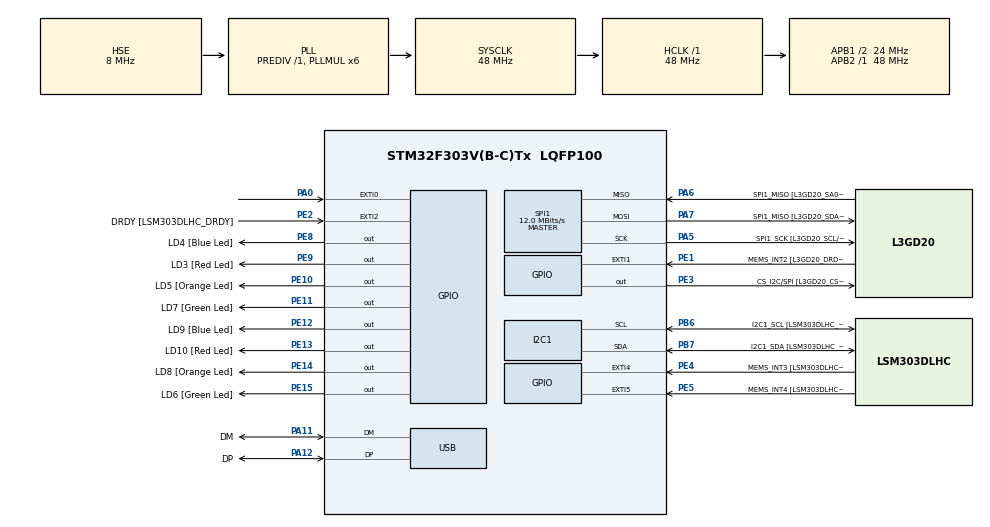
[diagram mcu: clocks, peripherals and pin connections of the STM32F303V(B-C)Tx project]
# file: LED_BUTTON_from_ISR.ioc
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I2C1.Timing-I2C=0x2000090E
Mcu.Family=STM32F3
Mcu.Name=STM32F303V(B-C)Tx
Mcu.Package=LQFP100
NVIC.EXTI0_IRQn=true\:6\:0\:true\:false\:true\:true\:true\:true
NVIC.PriorityGroup=NVIC_PRIORITYGROUP_4
NVIC.TIM6_DAC_IRQn=true\:0\:0\:false\:false\:true\:false\:true\:true
NVIC.TimeBase=TIM6_DAC_IRQn
NVIC.TimeBaseIP=TIM6
PA0.GPIO_ModeDefaultEXTI=GPIO_MODE_IT_FALLING
PA0.Signal=GPXTI0
PA11.GPIO_Label=DM
PA11.Mode=Device
PA11.Signal=USB_DM
PA12.GPIO_Label=DP
PA12.Mode=Device
PA12.Signal=USB_DP
PA13.GPIO_Label=SWDIO
PA13.Mode=Serial_Wire
PA13.Signal=SYS_JTMS-SWDIO
PA14.GPIO_Label=SWCLK
PA14.Mode=Serial_Wire
PA14.Signal=SYS_JTCK-SWCLK
PA5.GPIO_Label=SPI1_SCK [L3GD20_SCL/SPC]
PA5.Mode=Full_Duplex_Master
PA5.Signal=SPI1_SCK
PA6.GPIO_Label=SPI1_MISO [L3GD20_SA0/SDO]
PA6.Mode=Full_Duplex_Master
PA6.Signal=SPI1_MISO
PA7.GPIO_Label=SPI1_MISO [L3GD20_SDA/SDI/SDO]
PA7.Mode=Full_Duplex_Master
PA7.Signal=SPI1_MOSI
PB3.GPIO_Label=SWO
PB3.Signal=SYS_JTDO-TRACESWO
PB6.GPIO_Label=I2C1_SCL [LSM303DLHC_SCL]
PB6.GPIO_Pu=GPIO_PULLUP
PB6.Mode=I2C
PB6.Signal=I2C1_SCL
PB7.GPIO_Label=I2C1_SDA [LSM303DLHC_SDA]
PB7.GPIO_Pu=GPIO_PULLUP
PB7.Mode=I2C
PB7.Signal=I2C1_SDA
PC14-OSC32_IN.GPIO_Label=OSC32_IN
PC14-OSC32_IN.Signal=RCC_OSC32_IN
PC15-OSC32_OUT.GPIO_Label=OSC32_OUT
PC15-OSC32_OUT.Signal=RCC_OSC32_OUT
PE1.GPIO_Label=MEMS_INT2 [L3GD20_DRDY/INT2]
PE1.GPIO_ModeDefaultEXTI=GPIO_MODE_EVT_RISING
PE1.Signal=GPXTI1
PE10.GPIO_Label=LD5 [Orange Led]
PE10.Signal=GPIO_Output
PE11.GPIO_Label=LD7 [Green Led]
PE11.Signal=GPIO_Output
PE12.GPIO_Label=LD9 [Blue Led]
PE12.Signal=GPIO_Output
PE13.GPIO_Label=LD10 [Red Led]
PE13.Signal=GPIO_Output
PE14.GPIO_Label=LD8 [Orange Led]
PE14.Signal=GPIO_Output
PE15.GPIO_Label=LD6 [Green Led]
PE15.Signal=GPIO_Output
PE2.GPIO_Label=DRDY [LSM303DLHC_DRDY]
PE2.GPIO_ModeDefaultEXTI=GPIO_MODE_EVT_RISING
PE2.Signal=GPXTI2
PE3.GPIO_Label=CS_I2C/SPI [L3GD20_CS_I2C/SPI]
PE3.Signal=GPIO_Output
PE4.GPIO_Label=MEMS_INT3 [LSM303DLHC_INT1]
PE4.GPIO_ModeDefaultEXTI=GPIO_MODE_EVT_RISING
PE4.Signal=GPXTI4
PE5.GPIO_Label=MEMS_INT4 [LSM303DLHC_INT2]
PE5.GPIO_ModeDefaultEXTI=GPIO_MODE_EVT_RISING
PE5.Signal=GPXTI5
PE8.GPIO_Label=LD4 [Blue Led]
PE8.Signal=GPIO_Output
PE9.GPIO_Label=LD3 [Red Led]
PE9.Signal=GPIO_Output
PF0-OSC_IN.GPIO_Label=OSC_IN
PF0-OSC_IN.Mode=HSE-External-Clock-Source
PF0-OSC_IN.Signal=RCC_OSC_IN
PF1-OSC_OUT.GPIO_Label=OSC_OUT
PF1-OSC_OUT.Signal=RCC_OSC_OUT
ProjectManager.HeapSize=0x200
ProjectManager.StackSize=0x400
ProjectManager.TargetToolchain=STM32CubeIDE
RCC.AHBFreq_Value=48000000
RCC.APB1CLKDivider=RCC_HCLK_DIV2
RCC.APB1Freq_Value=24000000
RCC.APB1TimFreq_Value=48000000
RCC.APB2Freq_Value=48000000
RCC.APB2TimFreq_Value=48000000
RCC.CortexFreq_Value=48000000
RCC.HCLKFreq_Value=48000000
RCC.HSE_VALUE=8000000
RCC.HSI_VALUE=8000000
RCC.LSE_VALUE=32768
RCC.PLLMUL=RCC_PLL_MUL6
RCC.SYSCLKFreq_VALUE=48000000
RCC.SYSCLKSourceVirtual=RCC_SYSCLKSOURCE_PLLCLK
RCC.USBFreq_Value=48000000
SPI1.BaudRatePrescaler=SPI_BAUDRATEPRESCALER_4
SPI1.BaudRatePrescaler-Full_Duplex_Master=SPI_BAUDRATEPRESCALER_2
SPI1.CalculateBaudRate=12.0 MBits/s
SPI1.CalculateBaudRate-Full_Duplex_Master=24.0 MBits/s
SPI1.Direction=SPI_DIRECTION_2LINES
SPI1.Mode=SPI_MODE_MASTER
SPI1.Mode-Full_Duplex_Master=SPI_MODE_MASTER
SPI1.VirtualType=VM_MASTER
VP_SYS_VS_tim6.Mode=TIM6
board=STM32F3DISCOVERY

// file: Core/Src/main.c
/* USER CODE BEGIN Header */
/**
  ******************************************************************************
  * @file           : main.c
  * @brief          : Main program body
  ******************************************************************************
  * @attention
  *
  * Copyright (c) 2023 STMicroelectronics.
  * All rights reserved.
  *
  * This software is licensed under terms that can be found in the LICENSE file
  * in the root directory of this software component.
  * If no LICENSE file comes with this software, it is provided AS-IS.
  *
  ******************************************************************************
  */
/* USER CODE END Header */
#include "main.h"

/* USER CODE BEGIN Includes */
#include <stdio.h>
#include"FreeRTOS.h"
#include "task.h"
/* USER CODE END Includes */

/* USER CODE BEGIN PM */
#define LED_GREEN_1 	GPIO_PIN_15
#define LED_GREEN_2 	GPIO_PIN_11
#define LED_ORANGE_1 	GPIO_PIN_14
#define LED_ORANGE_2 	GPIO_PIN_10
#define LED_BLUE_1 		GPIO_PIN_12
#define LED_BLUE_2 		GPIO_PIN_8
#define LED_RED_1		GPIO_PIN_13
#define LED_RED_2		GPIO_PIN_9
/* USER CODE END PM */

I2C_HandleTypeDef hi2c1;

SPI_HandleTypeDef hspi1;

PCD_HandleTypeDef hpcd_USB_FS;

/* USER CODE BEGIN PV */
#define DWT_CTRL		(*(volatile uint32_t *) 0xE0001000)
/* USER CODE END PV */

void SystemClock_Config(void);
static void MX_GPIO_Init(void);
static void MX_I2C1_Init(void);
static void MX_SPI1_Init(void);
static void MX_USB_PCD_Init(void);
/* USER CODE BEGIN PFP */
void button_interrupt_handler(void);
static void toggle_1_handler(void* parameters);
static void toggle_2_handler(void* parameters);
static void toggle_3_handler(void* parameters);
static void toggle_4_handler(void* parameters);
static void ALL_LEDS_ON_handler(void* parameters);

TaskHandle_t volatile next_task_handle;
/* USER CODE END PFP */

/* USER CODE BEGIN 0 */
TaskHandle_t toggle_1_handle;
TaskHandle_t toggle_2_handle;
TaskHandle_t toggle_3_handle;
TaskHandle_t toggle_4_handle;
TaskHandle_t LEDS_ON_handle;
/* USER CODE END 0 */

int main(void)
{
  /* USER CODE BEGIN 1 */
	BaseType_t Status;
  /* USER CODE END 1 */

  /* MCU Configuration--------------------------------------------------------*/

  /* Reset of all peripherals, Initializes the Flash interface and the Systick. */
  HAL_Init();

  /* Configure the system clock */
  SystemClock_Config();

  /* Initialize all configured peripherals */
  MX_GPIO_Init();
  MX_I2C1_Init();
  MX_SPI1_Init();
  MX_USB_PCD_Init();
  /* USER CODE BEGIN 2 */
  DWT_CTRL |= (1 << 0);

  SEGGER_SYSVIEW_Conf();

  SEGGER_SYSVIEW_Start();

  Status = xTaskCreate(toggle_1_handler, "Toggle 1 LED", 200, "1 LED toggled", 1, &toggle_1_handle );
  configASSERT(Status == pdPASS);

  next_task_handle = toggle_1_handle;

  Status = xTaskCreate(toggle_2_handler, "Toggle 2 LED", 200, "2 LED toggled", 1, &toggle_2_handle );
  configASSERT(Status == pdPASS);

  Status = xTaskCreate(toggle_3_handler, "Toggle 3 LED", 200, "3 LED toggled", 1, &toggle_3_handle );
  configASSERT(Status == pdPASS);

  Status = xTaskCreate(toggle_4_handler, "Toggle 4 LED", 200, "4 LED toggled", 1, &toggle_4_handle );
  configASSERT(Status == pdPASS);

  Status = xTaskCreate(ALL_LEDS_ON_handler, "ALL LEDS ON", 200, "all leds on", 1, &LEDS_ON_handle );
  configASSERT(Status == pdPASS);

  //Status = xTaskCreate(button_press_handler, "Button task", 200, "Button pressed", 2, &BTN_task_handle );
  //configASSERT(Status == pdPASS);

  //START SCHEDULER
  vTaskStartScheduler();
  vTaskSuspend(LEDS_ON_handle);
  /* USER CODE END 2 */

  /* Infinite loop */
  while (1)
  {

  }
}

void SystemClock_Config(void)
{
  RCC_OscInitTypeDef RCC_OscInitStruct = {0};
  RCC_ClkInitTypeDef RCC_ClkInitStruct = {0};
  RCC_PeriphCLKInitTypeDef PeriphClkInit = {0};

  /** Initializes the RCC Oscillators according to the specified parameters
  * in the RCC_OscInitTypeDef structure.
  */
  RCC_OscInitStruct.OscillatorType = RCC_OSCILLATORTYPE_HSI|RCC_OSCILLATORTYPE_HSE;
  RCC_OscInitStruct.HSEState = RCC_HSE_BYPASS;
  RCC_OscInitStruct.HSEPredivValue = RCC_HSE_PREDIV_DIV1;
  RCC_OscInitStruct.HSIState = RCC_HSI_ON;
  RCC_OscInitStruct.HSICalibrationValue = RCC_HSICALIBRATION_DEFAULT;
  RCC_OscInitStruct.PLL.PLLState = RCC_PLL_ON;
  RCC_OscInitStruct.PLL.PLLSource = RCC_PLLSOURCE_HSE;
  RCC_OscInitStruct.PLL.PLLMUL = RCC_PLL_MUL6;
  if (HAL_RCC_OscConfig(&RCC_OscInitStruct) != HAL_OK)
  {
    Error_Handler();
  }

  /** Initializes the CPU, AHB and APB buses clocks
  */
  RCC_ClkInitStruct.ClockType = RCC_CLOCKTYPE_HCLK|RCC_CLOCKTYPE_SYSCLK
                              |RCC_CLOCKTYPE_PCLK1|RCC_CLOCKTYPE_PCLK2;
  RCC_ClkInitStruct.SYSCLKSource = RCC_SYSCLKSOURCE_PLLCLK;
  RCC_ClkInitStruct.AHBCLKDivider = RCC_SYSCLK_DIV1;
  RCC_ClkInitStruct.APB1CLKDivider = RCC_HCLK_DIV2;
  RCC_ClkInitStruct.APB2CLKDivider = RCC_HCLK_DIV1;

  if (HAL_RCC_ClockConfig(&RCC_ClkInitStruct, FLASH_LATENCY_1) != HAL_OK)
  {
    Error_Handler();
  }
  PeriphClkInit.PeriphClockSelection = RCC_PERIPHCLK_USB|RCC_PERIPHCLK_I2C1;
  PeriphClkInit.I2c1ClockSelection = RCC_I2C1CLKSOURCE_HSI;
  PeriphClkInit.USBClockSelection = RCC_USBCLKSOURCE_PLL;
  if (HAL_RCCEx_PeriphCLKConfig(&PeriphClkInit) != HAL_OK)
  {
    Error_Handler();
  }
}

static void MX_I2C1_Init(void)
{

  hi2c1.Instance = I2C1;
  hi2c1.Init.Timing = 0x2000090E;
  hi2c1.Init.OwnAddress1 = 0;
  hi2c1.Init.AddressingMode = I2C_ADDRESSINGMODE_7BIT;
  hi2c1.Init.DualAddressMode = I2C_DUALADDRESS_DISABLE;
  hi2c1.Init.OwnAddress2 = 0;
  hi2c1.Init.OwnAddress2Masks = I2C_OA2_NOMASK;
  hi2c1.Init.GeneralCallMode = I2C_GENERALCALL_DISABLE;
  hi2c1.Init.NoStretchMode = I2C_NOSTRETCH_DISABLE;
  if (HAL_I2C_Init(&hi2c1) != HAL_OK)
  {
    Error_Handler();
  }

  /** Configure Analogue filter
  */
  if (HAL_I2CEx_ConfigAnalogFilter(&hi2c1, I2C_ANALOGFILTER_ENABLE) != HAL_OK)
  {
    Error_Handler();
  }

  /** Configure Digital filter
  */
  if (HAL_I2CEx_ConfigDigitalFilter(&hi2c1, 0) != HAL_OK)
  {
    Error_Handler();
  }

}

static void MX_SPI1_Init(void)
{

  /* SPI1 parameter configuration*/
  hspi1.Instance = SPI1;
  hspi1.Init.Mode = SPI_MODE_MASTER;
  hspi1.Init.Direction = SPI_DIRECTION_2LINES;
  hspi1.Init.DataSize = SPI_DATASIZE_4BIT;
  hspi1.Init.CLKPolarity = SPI_POLARITY_LOW;
  hspi1.Init.CLKPhase = SPI_PHASE_1EDGE;
  hspi1.Init.NSS = SPI_NSS_SOFT;
  hspi1.Init.BaudRatePrescaler = SPI_BAUDRATEPRESCALER_4;
  hspi1.Init.FirstBit = SPI_FIRSTBIT_MSB;
  hspi1.Init.TIMode = SPI_TIMODE_DISABLE;
  hspi1.Init.CRCCalculation = SPI_CRCCALCULATION_DISABLE;
  hspi1.Init.CRCPolynomial = 7;
  hspi1.Init.CRCLength = SPI_CRC_LENGTH_DATASIZE;
  hspi1.Init.NSSPMode = SPI_NSS_PULSE_ENABLE;
  if (HAL_SPI_Init(&hspi1) != HAL_OK)
  {
    Error_Handler();
  }

}

static void MX_USB_PCD_Init(void)
{

  hpcd_USB_FS.Instance = USB;
  hpcd_USB_FS.Init.dev_endpoints = 8;
  hpcd_USB_FS.Init.speed = PCD_SPEED_FULL;
  hpcd_USB_FS.Init.phy_itface = PCD_PHY_EMBEDDED;
  hpcd_USB_FS.Init.low_power_enable = DISABLE;
  hpcd_USB_FS.Init.battery_charging_enable = DISABLE;
  if (HAL_PCD_Init(&hpcd_USB_FS) != HAL_OK)
  {
    Error_Handler();
  }

}

static void MX_GPIO_Init(void)
{
  GPIO_InitTypeDef GPIO_InitStruct = {0};

  /* GPIO Ports Clock Enable */
  __HAL_RCC_GPIOE_CLK_ENABLE();
  __HAL_RCC_GPIOC_CLK_ENABLE();
  __HAL_RCC_GPIOF_CLK_ENABLE();
  __HAL_RCC_GPIOA_CLK_ENABLE();
  __HAL_RCC_GPIOB_CLK_ENABLE();

  /*Configure GPIO pin Output Level */
  HAL_GPIO_WritePin(GPIOE, CS_I2C_SPI_Pin|LD4_Pin|LD3_Pin|LD5_Pin
                          |LD7_Pin|LD9_Pin|LD10_Pin|LD8_Pin
                          |LD6_Pin, GPIO_PIN_RESET);

  /*Configure GPIO pins : DRDY_Pin MEMS_INT3_Pin MEMS_INT4_Pin MEMS_INT2_Pin */
  GPIO_InitStruct.Pin = DRDY_Pin|MEMS_INT3_Pin|MEMS_INT4_Pin|MEMS_INT2_Pin;
  GPIO_InitStruct.Mode = GPIO_MODE_EVT_RISING;
  GPIO_InitStruct.Pull = GPIO_NOPULL;
  HAL_GPIO_Init(GPIOE, &GPIO_InitStruct);

  /*Configure GPIO pins : CS_I2C_SPI_Pin LD4_Pin LD3_Pin LD5_Pin
                           LD7_Pin LD9_Pin LD10_Pin LD8_Pin
                           LD6_Pin */
  GPIO_InitStruct.Pin = CS_I2C_SPI_Pin|LD4_Pin|LD3_Pin|LD5_Pin
                          |LD7_Pin|LD9_Pin|LD10_Pin|LD8_Pin
                          |LD6_Pin;
  GPIO_InitStruct.Mode = GPIO_MODE_OUTPUT_PP;
  GPIO_InitStruct.Pull = GPIO_NOPULL;
  GPIO_InitStruct.Speed = GPIO_SPEED_FREQ_LOW;
  HAL_GPIO_Init(GPIOE, &GPIO_InitStruct);

  /*Configure GPIO pin : PA0 */
  GPIO_InitStruct.Pin = GPIO_PIN_0;
  GPIO_InitStruct.Mode = GPIO_MODE_IT_FALLING;
  GPIO_InitStruct.Pull = GPIO_NOPULL;
  HAL_GPIO_Init(GPIOA, &GPIO_InitStruct);

  /* EXTI interrupt init*/
  HAL_NVIC_SetPriority(EXTI0_IRQn, 6, 0);
  HAL_NVIC_EnableIRQ(EXTI0_IRQn);

}

/* USER CODE BEGIN 4 */

void button_interrupt_handler(void){
	traceISR_ENTER();
	xTaskNotifyFromISR(next_task_handle, 0, eNoAction, NULL);
	traceISR_EXIT();
}

static void toggle_1_handler(void* parameters){

	BaseType_t status;
	while(1){
		SEGGER_SYSVIEW_PrintfTarget("Toggling 1 LED");
		HAL_GPIO_TogglePin(GPIOE, LED_GREEN_1);
		HAL_GPIO_TogglePin(GPIOE, LED_GREEN_2);
		status = xTaskNotifyWait(0,0,NULL,pdMS_TO_TICKS(1000));

		if(status == pdTRUE){
			//the button was pressed
			portENTER_CRITICAL();
			next_task_handle = toggle_2_handle;
			portEXIT_CRITICAL();

			eTaskState state = eTaskGetState(toggle_1_handle);

			if(state == eReady || state == eRunning){
				HAL_GPIO_WritePin(GPIOE, LED_GREEN_1, GPIO_PIN_SET);
				HAL_GPIO_WritePin(GPIOE, LED_GREEN_2, GPIO_PIN_SET);
				vTaskSuspend(NULL);

			}else{
			}
		}
	}
}

static void toggle_2_handler(void* parameters){

	BaseType_t status;
	while(1){
		SEGGER_SYSVIEW_PrintfTarget("Toggling 2 LED");
		HAL_GPIO_TogglePin(GPIOE, LED_ORANGE_1);
		HAL_GPIO_TogglePin(GPIOE, LED_ORANGE_2);
		status = xTaskNotifyWait(0,0,NULL,pdMS_TO_TICKS(500));

		if(status == pdTRUE){
			//the button was pressed
			portENTER_CRITICAL();
			next_task_handle = toggle_3_handle;
			portEXIT_CRITICAL();

			eTaskState state = eTaskGetState(toggle_2_handle);

			if(state == eReady || state == eRunning){
				HAL_GPIO_WritePin(GPIOE, LED_ORANGE_1, GPIO_PIN_SET);
				HAL_GPIO_WritePin(GPIOE, LED_ORANGE_2, GPIO_PIN_SET);
				vTaskSuspend(NULL);

			}else{
			}
		}
	}
}

static void toggle_3_handler(void* parameters){

	BaseType_t status;
	while(1){
		SEGGER_SYSVIEW_PrintfTarget("Toggling 3 LED");
		HAL_GPIO_TogglePin(GPIOE, LED_RED_1);
		HAL_GPIO_TogglePin(GPIOE, LED_RED_2);
		status = xTaskNotifyWait(0,0,NULL,pdMS_TO_TICKS(250));

		if(status == pdTRUE){
			//the button was pressed
			portENTER_CRITICAL();
			next_task_handle = toggle_4_handle;
			portEXIT_CRITICAL();

			eTaskState state = eTaskGetState(toggle_3_handle);

			if(state == eReady || state == eRunning){
				HAL_GPIO_WritePin(GPIOE, LED_RED_1, GPIO_PIN_SET);
				HAL_GPIO_WritePin(GPIOE, LED_RED_2, GPIO_PIN_SET);
				vTaskSuspend(NULL);

			}else{
			}
		}
	}
}

static void toggle_4_handler(void* parameters){

	BaseType_t status;
	while(1){
		SEGGER_SYSVIEW_PrintfTarget("Toggling 4 LED");
		HAL_GPIO_TogglePin(GPIOE, LED_BLUE_1);
		HAL_GPIO_TogglePin(GPIOE, LED_BLUE_2);

		status = xTaskNotifyWait(0,0,NULL,pdMS_TO_TICKS(125));

		if(status == pdTRUE){
			//the button was pressed
			portENTER_CRITICAL();
			next_task_handle = LEDS_ON_handle;
			portEXIT_CRITICAL();

			eTaskState state = eTaskGetState(toggle_4_handle);

			if(state == eReady || state == eRunning){
				HAL_GPIO_WritePin(GPIOE, LED_BLUE_1, GPIO_PIN_SET);
				HAL_GPIO_WritePin(GPIOE, LED_BLUE_2, GPIO_PIN_SET);
				vTaskResume(LEDS_ON_handle);
				vTaskSuspend(NULL);
			}else{
			}
		}
	}
}

static void ALL_LEDS_ON_handler(void* parameters){

	BaseType_t status;
	while(1){
		SEGGER_SYSVIEW_PrintfTarget("LEDS ON");
		status = xTaskNotifyWait(0,0,NULL,pdMS_TO_TICKS(500));

		if(status == pdTRUE){
			//the button was pressed
			portENTER_CRITICAL();
			next_task_handle = toggle_1_handle;
			portEXIT_CRITICAL();

				vTaskResume(toggle_1_handle);
				vTaskResume(toggle_2_handle);
				vTaskResume(toggle_3_handle);
				vTaskResume(toggle_4_handle);
				vTaskSuspend(NULL);
		}
	}
}

/* USER CODE END 4 */

void HAL_TIM_PeriodElapsedCallback(TIM_HandleTypeDef *htim)
{
  if (htim->Instance == TIM6) {
    HAL_IncTick();
  }
}

void Error_Handler(void)
{
  __disable_irq();
  while (1)
  {
  }
}
